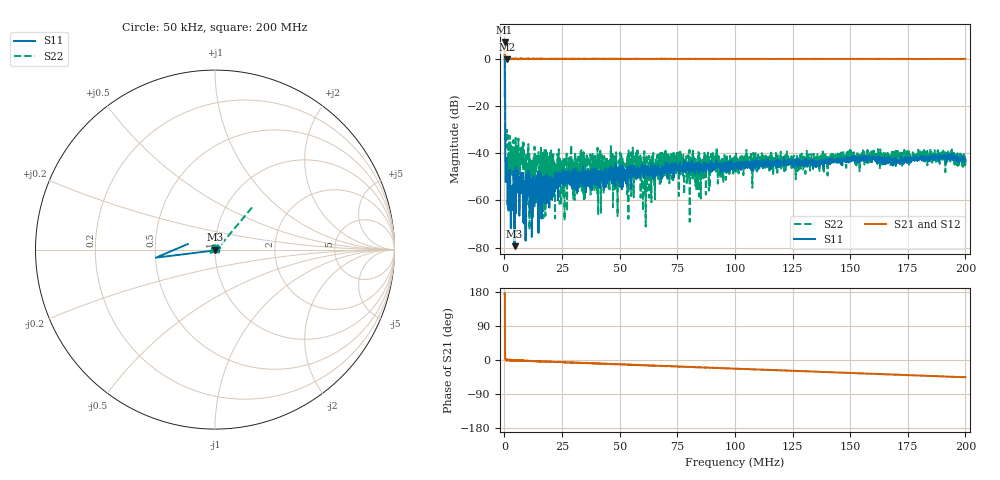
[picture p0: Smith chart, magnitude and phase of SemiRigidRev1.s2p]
! 19-Feb-26 3:03:49 PM
! E:\VNA_MEASUREMENTS\RECBLOCK\SEMIRIGIDREV1.S2P
! CHANNEL.1
! TR.MEASUREMENT
! CORRECTED.DATA
# GHZ S RI R 50.0
! FREQ.GHZ  S11RE  S11IM  S21RE  S21IM  S12RE  S12IM  S22RE  S22IM
!; PortSelection: Port_12
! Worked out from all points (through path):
!   2000 points, 50 kHz to 200 MHz, reference 50 ohm
!   highest |S21| = 7.04 dB at 50 kHz (marker M1); lowest = -0.3 dB at 1.05 MHz (marker M2)
!   lowest |S11| = -79.4 dB at 4.351 MHz (marker M3), VSWR 1.00, Z = 50 - j0.00975 ohm
!   |S11| at or under -10 dB: 124.1 kHz to 243.5 kHz (119.4 kHz wide, 65 % of centre); 251.4 kHz to end of sweep
!   |S22| runs from -72.5 to 7.8 dB; largest |S21 - S12| = 3.1
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5e-05  -1.511 1.912  -2.236 0.2341  -0.5849 -0.904  -0.4422 -2.41
0.00105025  -0.00718 -0.0033  0.9668 -0.0348  0.9932 -0.00642  -0.0242 -0.0185
0.0012503  0.000246 0.00171  0.9919 0.0281  0.9932 -0.00946  -0.00627 0.0239
0.002150525  0.000613 -0.000346  0.9954 -0.00762  1.004 -0.0079  -0.00169 0.00159
0.004351076  4.34e-05 -9.75e-05  1.004 -0.0153  0.9976 -0.0161  0.00304 0.00186
0.006951726  0.00247 -0.000299  1.007 -0.0397  0.9992 -0.0301  0.00133 -0.00809
0.009052251  -0.000228 0.000959  0.9979 -0.0291  1.001 -0.0368  0.0043 0.00582
0.01025255  -0.000565 0.00138  0.9926 -0.0332  0.9963 -0.0388  0.00204 0.00759
0.01185295  -0.000111 -0.000124  0.9902 -0.0484  0.996 -0.0482  -0.00295 0.00522
0.0148537  0.0026 1.07e-05  0.9937 -0.0618  0.995 -0.0597  -0.00124 0.00361
0.0176544  0.000876 0.00069  0.9906 -0.0683  0.998 -0.0708  0.00226 0.00566
0.03345835  0.00159 0.00365  0.9882 -0.1291  0.9876 -0.1337  0.00413 8.07e-05
0.04666166  0.00208 0.00333  0.9818 -0.1942  0.978 -0.1845  0.00479 0.00852
0.05276318  0.00117 0.00196  0.9812 -0.2082  0.9778 -0.2072  -0.000239 0.00593
0.05796448  0.00214 0.00303  0.9729 -0.2284  0.9703 -0.2309  0.00244 0.00494
0.06046511  0.00186 0.00269  0.9698 -0.2396  0.9708 -0.239  0.00283 0.00406
0.06676668  0.00339 0.00327  0.9646 -0.2671  0.9621 -0.2651  0.00574 0.00435
0.07996998  0.00474 0.00356  0.944 -0.3142  0.9493 -0.3149  0.00123 0.00296
0.100075  0.0045 0.00268  0.9186 -0.395  0.9188 -0.3859  -0.000749 0.00409
0.1333833  0.00488 0.00248  0.8574 -0.5019  0.8602 -0.5045  0.00472 0.00292
0.1666917  0.0072 0.00417  0.7828 -0.6117  0.7837 -0.6071  0.00539 0.00633
0.2  0.0069 0.00183  0.7023 -0.7115  0.6944 -0.7076  0.00271 0.00483
